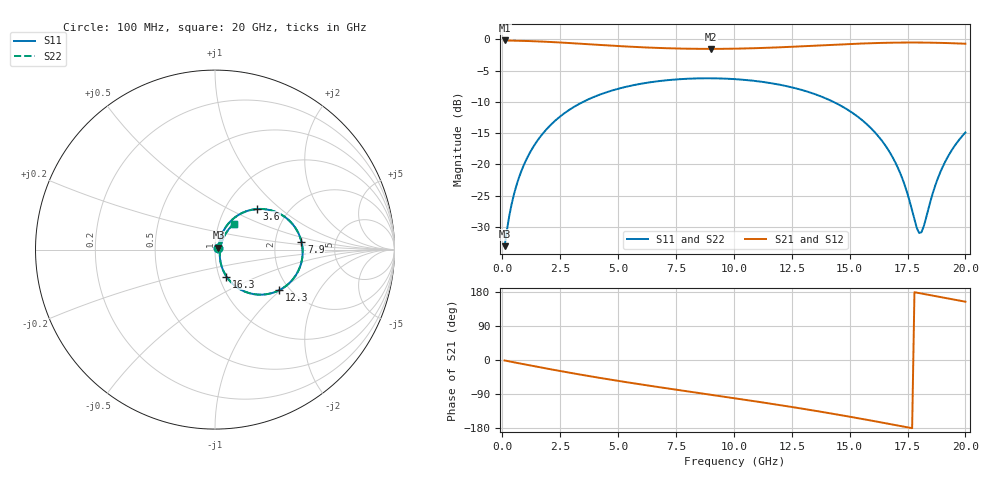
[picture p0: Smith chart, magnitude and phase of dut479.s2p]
! Touchstone file exported from HFSS 2026.1.0
!  File:  C:/ffzhzh/LocalFiles/Ansys_Project_Files/temp_train_TSV_RDL_479_1783104098_37876.aedt
!  Generated:  02:53:26 AM Jul  4, 2026
!  Design:  TSV_RDL
!  Project:  temp_train_TSV_RDL_479_1783104098_37876
! Variables:
!  h_bsmrdl = 5.22um
!  h_ox = 20um
!  h_rdl = 5um
!  h_sub = 61.36um
!  h_tmrdl = 4.05um
!  h_tsv = 61.36um
!  h_via = 3um
!  l_bsmrdl = 558.95um
!  l_sub = 3573.97um
!  l_tmrdl = 349.8um
!  m_sub = 200um
!  pitch = 33.34um
!  r_tsv = 3.84um
!  s_tmrdl = 10um
!  w_bsmrdl = 12.41um
!  w_sub = 500um
!  w_tmrdl = 20.23um
!  x_tsv_center1 = 359.915um
!  x_tsv_center2 = 931.275um
!  x_tsv_center3 = 1301.305um
!  x_tsv_center4 = 1872.665um
!  x_tsv_center5 = 2242.695um
!  x_tsv_center6 = 2814.055um
# GHz S MA R 50.000000
! Terminal data exported
! Port[1] = TM_RDL1_1_T1
! Port[2] = TM_RDL5_1_T1
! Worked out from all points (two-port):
!   200 points, 100 MHz to 20 GHz, reference 50 ohm
!   highest |S21| = -0.17 dB at 100 MHz (marker M1); lowest = -1.5 dB at 9 GHz (marker M2)
!   |S21| within 3 dB of the highest: start of sweep to end of sweep
!   lowest |S11| = -33.1 dB at 100 MHz (marker M3), VSWR 1.05, Z = 52 + j1.14 ohm
!   |S11| at or under -10 dB: start of sweep to 3.486 GHz; 14.31 GHz to end of sweep
!   |S22| runs from -33.1 to -6.2 dB; largest |S21 - S12| = 1.6e-14
!   S11 on the Smith chart (normalised r, x): 100 MHz: 1.04, +0.02; 3.6 GHz: 1.40, +0.71; 7.9 GHz: 2.83, +0.33; 12.3 GHz: 1.76, -0.97; 16.3 GHz: 1.08, -0.33; 20 GHz: 1.18, +0.35
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0.1  0.02221 29.5  0.9808 -1.3  0.9808 -1.3  0.02221 29.5
! Gamma 0 0 0 0
! Port Impedance 50 0 50 0
0.3  0.03863 54.4  0.9791 -3.7  0.9791 -3.7  0.03863 54.4
0.5  0.05735 62.1  0.9772 -6.1  0.9772 -6.1  0.05735 62.1
0.8  0.08628 65.5  0.9743 -9.6  0.9743 -9.6  0.08628 65.5
1.2  0.125 65.2  0.9694 -14.3  0.9694 -14.3  0.125 65.2
2.2  0.2167 57.7  0.9514 -25.7  0.9514 -25.7  0.2167 57.7
3.5  0.3172 45.2  0.9207 -39.9  0.9207 -39.9  0.3172 45.2
3.6  0.3239 44.2  0.9182 -40.9  0.9182 -40.9  0.3239 44.2
6.8  0.4649 14.7  0.8537 -72.0  0.8537 -72.0  0.4649 14.7
7.9  0.4836 5.3  0.8431 -81.9  0.8431 -81.9  0.4836 5.3
9  0.4887 -4.1  0.8398 -91.7  0.8398 -91.7  0.4886 -4.1
10.1  0.4804 -13.4  0.8436 -101.6  0.8436 -101.6  0.4804 -13.4
12.3  0.4221 -32.6  0.8696 -122.0  0.8696 -122.0  0.4221 -32.6
13.4  0.3705 -42.5  0.8891 -132.9  0.8891 -132.9  0.3705 -42.5
15.1  0.2603 -57.8  0.9201 -150.7  0.9201 -150.7  0.2603 -57.8
16.3  0.163 -67.0  0.9368 -164.0  0.9368 -164.0  0.163 -66.9
16.7  0.1281 -68.6  0.9405 -168.5  0.9405 -168.5  0.1281 -68.5
17.3  0.07519 -65.9  0.9439 -175.4  0.9439 -175.4  0.07525 -65.8
17.9  0.0311 -29.9  0.9443 177.7  0.9443 177.7  0.03129 -29.7
18.1  0.02865 4.4  0.9438 175.4  0.9438 175.4  0.02888 4.4
19  0.09397 55.8  0.9375 165.1  0.9375 165.1  0.09405 55.7
20  0.1803 53.4  0.9237 153.9  0.9237 153.9  0.1804 53.3
